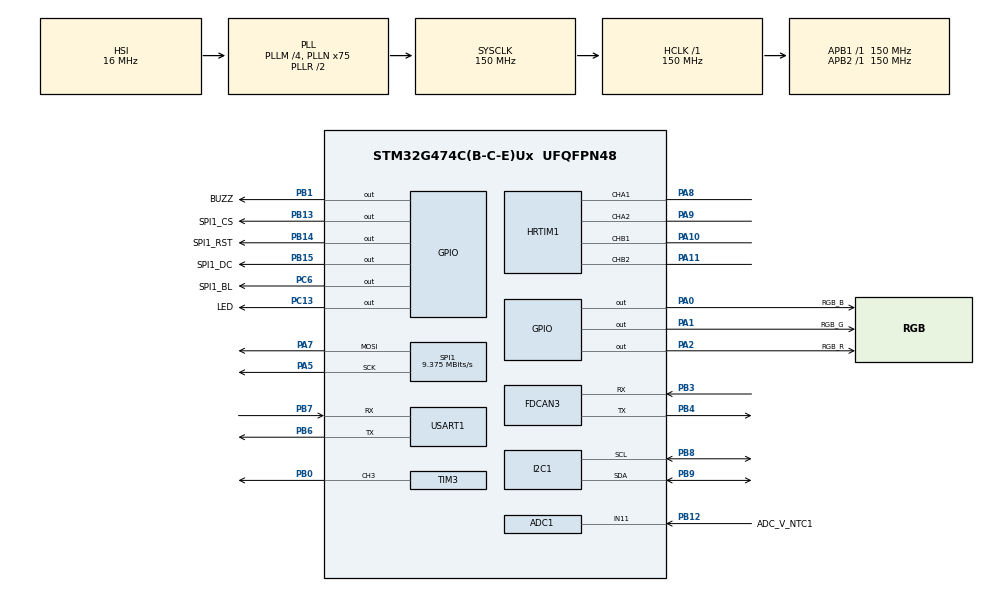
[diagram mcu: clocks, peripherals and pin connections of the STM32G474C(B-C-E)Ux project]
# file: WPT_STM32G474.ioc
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ADC1.Channel-0\#ChannelRegularConversion=ADC_CHANNEL_11
ADC1.NbrOfConversionFlag=1
ADC1.OffsetNumber-0\#ChannelRegularConversion=ADC_OFFSET_NONE
ADC1.Rank-0\#ChannelRegularConversion=1
ADC1.SamplingTime-0\#ChannelRegularConversion=ADC_SAMPLETIME_2CYCLES_5
ADC1.master=1
FDCAN3.CalculateBaudRateNominal=1874999
FDCAN3.CalculateTimeBitNominal=533
FDCAN3.CalculateTimeQuantumNominal=106.66666666666667
HRTIM1.CompareUnit1-MasterTimer=HRTIM_COMPAREUNIT_1
HRTIM1.CompareUnit1-Output_TA1TA2=HRTIM_COMPAREUNIT_1
HRTIM1.CompareUnit1-Output_TB1TB2=HRTIM_COMPAREUNIT_1
HRTIM1.CompareUnit2-MasterTimer=HRTIM_COMPAREUNIT_2
HRTIM1.CompareValue1-MasterTimer=200
HRTIM1.CompareValue1-Output_TA1TA2=850
HRTIM1.CompareValue1-Output_TB1TB2=850
HRTIM1.CompareValue2-MasterTimer=200
HRTIM1.DeadTimeInsertion-Output_TA1TA2=HRTIM_TIMDEADTIMEINSERTION_ENABLED
HRTIM1.DeadTimeInsertion-Output_TB1TB2=HRTIM_TIMDEADTIMEINSERTION_ENABLED
HRTIM1.FallingValue-Output_TA1TA2=100
HRTIM1.FallingValue-Output_TB1TB2=100
HRTIM1.InterleavedMode-Output_TB1TB2=HRTIM_INTERLEAVED_MODE_DISABLED
HRTIM1.NumberResetSource1-Output_TA1TA2=1
HRTIM1.NumberResetSource1-Output_TB1TB2=1
HRTIM1.NumberSetSource1-Output_TA1TA2=1
HRTIM1.NumberSetSource1-Output_TB1TB2=1
HRTIM1.Periode_MASTER=1500
HRTIM1.Periode_TA=1500
HRTIM1.Periode_TB=1500
HRTIM1.Polarity1-Output_TB1TB2=HRTIM_OUTPUTPOLARITY_HIGH
HRTIM1.Polarity2-Output_TA1TA2=HRTIM_OUTPUTPOLARITY_HIGH
HRTIM1.Polarity2-Output_TB1TB2=HRTIM_OUTPUTPOLARITY_HIGH
HRTIM1.PreloadEnable-MasterTimer=HRTIM_PRELOAD_ENABLED
HRTIM1.PreloadEnable-Output_TA1TA2=HRTIM_PRELOAD_ENABLED
HRTIM1.PreloadEnable-Output_TB1TB2=HRTIM_PRELOAD_ENABLED
HRTIM1.PrescalerDead-Output_TA1TA2=HRTIM_TIMDEADTIME_PRESCALERRATIO_DIV1
HRTIM1.PrescalerDead-Output_TB1TB2=HRTIM_TIMDEADTIME_PRESCALERRATIO_DIV1
HRTIM1.PrescalerRatio_MASTER=HRTIM_PRESCALERRATIO_DIV1
HRTIM1.PrescalerRatio_TA=HRTIM_PRESCALERRATIO_DIV1
HRTIM1.PrescalerRatio_TB=HRTIM_PRESCALERRATIO_DIV1
HRTIM1.RepetitionUpdate-MasterTimer=HRTIM_UPDATEONREPETITION_ENABLED
HRTIM1.RepetitionUpdate-Output_TA1TA2=HRTIM_UPDATEONREPETITION_ENABLED
HRTIM1.RepetitionUpdate-Output_TB1TB2=HRTIM_UPDATEONREPETITION_ENABLED
HRTIM1.ResetOutput1_Source1-Output_TA1TA2=HRTIM_OUTPUTRESET_TIMCMP1
HRTIM1.ResetOutput1_Source1-Output_TB1TB2=HRTIM_OUTPUTRESET_MASTERCMP2
HRTIM1.RisingValue-Output_TA1TA2=100
HRTIM1.RisingValue-Output_TB1TB2=100
HRTIM1.SetOutput1_Source1-Output_TA1TA2=HRTIM_OUTPUTSET_MASTERCMP1
HRTIM1.SetOutput1_Source1-Output_TB1TB2=HRTIM_OUTPUTSET_TIMCMP1
HRTIM1.SyncOptions=HRTIM_SYNCOPTION_MASTER
I2C1.Timing=0x30D293D6
Mcu.Family=STM32G4
Mcu.Name=STM32G474C(B-C-E)Ux
Mcu.Package=UFQFPN48
NVIC.PriorityGroup=NVIC_PRIORITYGROUP_4
PA0.GPIO_Label=RGB_B
PA0.Signal=GPIO_Output
PA1.GPIO_Label=RGB_G
PA1.Signal=GPIO_Output
PA10.Mode=Output_TB1TB2
PA10.Signal=HRTIM1_CHB1
PA11.Mode=Output_TB1TB2
PA11.Signal=HRTIM1_CHB2
PA13.Mode=Serial_Wire
PA13.Signal=SYS_JTMS-SWDIO
PA14.Mode=Serial_Wire
PA14.Signal=SYS_JTCK-SWCLK
PA2.GPIO_Label=RGB_R
PA2.Signal=GPIO_Output
PA5.Mode=TX_Only_Simplex_Unidirect_Master
PA5.Signal=SPI1_SCK
PA7.Mode=TX_Only_Simplex_Unidirect_Master
PA7.Signal=SPI1_MOSI
PA8.Mode=Output_TA1TA2
PA8.Signal=HRTIM1_CHA1
PA9.Mode=Output_TA1TA2
PA9.Signal=HRTIM1_CHA2
PB0.Signal=S_TIM3_CH3
PB1.GPIO_Label=BUZZ
PB1.Signal=GPIO_Output
PB12.GPIO_Label=ADC_V_NTC1
PB12.Mode=IN11-Single-Ended
PB12.Signal=ADC1_IN11
PB13.GPIO_Label=SPI1_CS
PB13.Signal=GPIO_Output
PB14.GPIO_Label=SPI1_RST
PB14.Signal=GPIO_Output
PB15.GPIO_Label=SPI1_DC
PB15.Signal=GPIO_Output
PB3.Mode=FDCAN_Activate
PB3.Signal=FDCAN3_RX
PB4.Mode=FDCAN_Activate
PB4.Signal=FDCAN3_TX
PB6.Mode=Asynchronous
PB6.Signal=USART1_TX
PB7.Mode=Asynchronous
PB7.Signal=USART1_RX
PB8-BOOT0.Mode=I2C
PB8-BOOT0.Signal=I2C1_SCL
PB9.Mode=I2C
PB9.Signal=I2C1_SDA
PC13.GPIO_Label=LED
PC13.Signal=GPIO_Output
PC6.GPIO_Label=SPI1_BL
PC6.Signal=GPIO_Output
ProjectManager.HeapSize=0x200
ProjectManager.StackSize=0x400
ProjectManager.TargetToolchain=MDK-ARM V5.32
RCC.ADC12Freq_Value=150000000
RCC.ADC345Freq_Value=150000000
RCC.AHBFreq_Value=150000000
RCC.APB1Freq_Value=150000000
RCC.APB1TimFreq_Value=150000000
RCC.APB2Freq_Value=150000000
RCC.APB2TimFreq_Value=150000000
RCC.CortexFreq_Value=150000000
RCC.EXTERNAL_CLOCK_VALUE=12288000
RCC.HCLKFreq_Value=150000000
RCC.HSE_VALUE=25000000
RCC.HSI48_VALUE=48000000
RCC.HSI_VALUE=16000000
RCC.LSE_VALUE=32768
RCC.PLLM=RCC_PLLM_DIV4
RCC.PLLN=75
RCC.SYSCLKFreq_VALUE=150000000
RCC.SYSCLKSource=RCC_SYSCLKSOURCE_PLLCLK
RCC.USBFreq_Value=150000000
RCC.VCOOutputFreq_Value=300000000
SH.S_TIM3_CH3.0=TIM3_CH3,PWM Generation3 CH3
SPI1.BaudRatePrescaler=SPI_BAUDRATEPRESCALER_16
SPI1.CalculateBaudRate=9.375 MBits/s
SPI1.DataSize=SPI_DATASIZE_8BIT
SPI1.Direction=SPI_DIRECTION_2LINES
SPI1.Mode=SPI_MODE_MASTER
SPI1.VirtualType=VM_MASTER
TIM3.Channel-PWM\ Generation3\ CH3=TIM_CHANNEL_3
USART1.VirtualMode-Asynchronous=VM_ASYNC
VP_HRTIM1_VS_hrtimMasterTimerNoOutput.Mode=MasterTimer
VP_SYS_VS_DBSignals.Mode=DisableDeadBatterySignals
board=custom

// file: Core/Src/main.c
/* USER CODE BEGIN Header */
/**
  ******************************************************************************
  * @file           : main.c
  * @brief          : Main program body
  ******************************************************************************
  * @attention
  *
  * Copyright (c) 2025 STMicroelectronics.
  * All rights reserved.
  *
  * This software is licensed under terms that can be found in the LICENSE file
  * in the root directory of this software component.
  * If no LICENSE file comes with this software, it is provided AS-IS.
  *
  ******************************************************************************
  */
/* USER CODE END Header */
#include "main.h"
#include "adc.h"
#include "fdcan.h"
#include "hrtim.h"
#include "i2c.h"
#include "spi.h"
#include "tim.h"
#include "usart.h"
#include "gpio.h"

/* USER CODE BEGIN Includes */
#include "st7735.h"
#include "fonts.h"
#include "stdio.h"
#include "ina226.h"
/* USER CODE END Includes */

void SystemClock_Config(void);

/* USER CODE BEGIN 0 */
//void start_module_A(void)
//{

//}
/* USER CODE END 0 */

int main(void)
{

  /* USER CODE BEGIN 1 */
//start_module_A();
  /* USER CODE END 1 */

  /* MCU Configuration--------------------------------------------------------*/

  /* Reset of all peripherals, Initializes the Flash interface and the Systick. */
  HAL_Init();

  /* Configure the system clock */
  SystemClock_Config();

  /* Initialize all configured peripherals */
  MX_GPIO_Init();
  MX_I2C1_Init();
  MX_ADC1_Init();
  MX_FDCAN3_Init();
  MX_HRTIM1_Init();
  MX_USART1_UART_Init();
  MX_TIM3_Init();
  MX_SPI1_Init();
  /* USER CODE BEGIN 2 */
//		HAL_HRTIM_WaveformCounterStart(&hhrtim1, HRTIM_TIMERID_MASTER | HRTIM_TIMERID_TIMER_A | HRTIM_TIMERID_TIMER_B);	//务必用|链接，实现同步
//
//
//	 HAL_HRTIM_WaveformOutputStart(&hhrtim1, HRTIM_OUTPUT_TA1 );
//	 HAL_HRTIM_WaveformOutputStart(&hhrtim1, HRTIM_OUTPUT_TA2 );
//
//
//	 HAL_HRTIM_WaveformOutputStart(&hhrtim1, HRTIM_OUTPUT_TB1 );
//	 HAL_HRTIM_WaveformOutputStart(&hhrtim1, HRTIM_OUTPUT_TB2 );
	HAL_Delay (100);
	ST7735_Init();
	HAL_GPIO_WritePin (SPI1_BL_GPIO_Port ,SPI1_BL_Pin ,GPIO_PIN_SET );
	ST7735_FillScreen(ST7735_BLACK);

  /* USER CODE END 2 */

  /* Infinite loop */
  while (1)
  {

    /* USER CODE BEGIN 3 */

		float    Current;
		float   Voltage;
		float  Pow;

	//INA226 初始化及CAL值适配
	/*
	* 设置转换时间8.244ms,求平均值次数16，设置模式为分流和总线连续模式
	* 总数据转换时间 = 8.244*16 = 131.9ms
	*/
    INA226_SetConfig(0x45FF);
	/*
	* 分流电阻最大电压 :电阻0.01R，分辨率0.2mA
	* 公式1
	* Current_LSB = 预= 32768 * 0.0000025V = 0.08192V
	* 设置分流电压转电流转换参数期最大电流 / 2^15
	* Current_LSB = 5 / 32768 = 0.00152A ,选0.002ma
	* 公式2
	* CAL = 0.00512/(Current_LSB*R)
	* CAL = 0.00512/(0.0002*0.1)=256 = 0x0100			100m对应0xa00  1对应0xa00
	*/
    INA226_SetCalibrationReg(0x07D0);

	//数据获取及转换
	Voltage = INA226_GetBusV();
	Current = INA226_GetCurrent();
	Pow = INA226_GetPower();
	char str_voltage[10]; // 分配足够的空间存储字符串
  sprintf(str_voltage, "%.6f", Voltage ); // 将浮点数格式化为整数形式
	char str_current[10]; // 分配足够的空间存储字符串       `
  sprintf(str_current, "%.6f", Current ); // 将浮点数格式化为整数形式
	char str_pow[10]; // 分配足够的空间存储字符串
  sprintf(str_pow, "%.6f", Pow ); // 将浮点数格式化为整数形式
////	//串口打印
////	printf("Current is %fA ",Current);
////	printf("Voltage is %fV ",Voltage);
////	printf("Pow is %fW\n",Pow);
//	//屏幕显示
	ST7735_DrawString(0, 0, "[WPT-TX]", ST7735_YELLOW, ST7735_BLACK, &Font_11x18);
	ST7735_DrawString(100, 0, "CAN:NOT", ST7735_RED, ST7735_BLACK, &Font_7x10);
	ST7735_DrawString(100, 10, "UART:NOT", ST7735_RED, ST7735_BLACK, &Font_7x10);
	ST7735_DrawString(0, 20, str_voltage, ST7735_GREEN, ST7735_BLACK, &Font_11x18);
	ST7735_DrawString(0, 40, str_current, ST7735_BLUE, ST7735_BLACK, &Font_11x18);
	ST7735_DrawString(0, 60, str_pow, ST7735_YELLOW, ST7735_BLACK, &Font_11x18);
	ST7735_DrawString(100, 20, "POWER:", ST7735_PUPER, ST7735_BLACK, &Font_7x10);
	ST7735_DrawString(100, 30, "2000J", ST7735_WHITE, ST7735_BLACK, &Font_7x10);
	ST7735_DrawString(100, 40, "TIME", ST7735_CYAN, ST7735_BLACK, &Font_7x10);
	ST7735_DrawString(100, 50, "0:00:00", ST7735_WHITE, ST7735_BLACK, &Font_7x10);
	ST7735_DrawString(100, 60, "29DU", ST7735_BLUE, ST7735_BLACK, &Font_7x10);
	ST7735_DrawString(100, 70, "------", ST7735_YELLOW, ST7735_BLACK, &Font_7x10);

	//指示灯显示
	HAL_GPIO_WritePin (LED_GPIO_Port ,LED_Pin ,GPIO_PIN_RESET);
	HAL_Delay (100);
	HAL_GPIO_WritePin (LED_GPIO_Port ,LED_Pin ,GPIO_PIN_SET);
	HAL_Delay (100);

	HAL_GPIO_WritePin (RGB_G_GPIO_Port ,RGB_G_Pin ,GPIO_PIN_RESET);
	HAL_Delay (100);
	HAL_GPIO_WritePin (RGB_G_GPIO_Port ,RGB_G_Pin ,GPIO_PIN_SET);
	HAL_Delay (100);
	HAL_GPIO_WritePin (RGB_B_GPIO_Port ,RGB_B_Pin ,GPIO_PIN_RESET);
	HAL_Delay (100);
	HAL_GPIO_WritePin (RGB_B_GPIO_Port ,RGB_B_Pin ,GPIO_PIN_SET);
	HAL_Delay (100);
	HAL_GPIO_WritePin (RGB_R_GPIO_Port ,RGB_R_Pin ,GPIO_PIN_RESET);
	HAL_Delay (100);
	HAL_GPIO_WritePin (RGB_R_GPIO_Port ,RGB_R_Pin ,GPIO_PIN_SET);
	HAL_Delay (100);

  }
  /* USER CODE END 3 */
}

void SystemClock_Config(void)
{
  RCC_OscInitTypeDef RCC_OscInitStruct = {0};
  RCC_ClkInitTypeDef RCC_ClkInitStruct = {0};

  /** Configure the main internal regulator output voltage
  */
  HAL_PWREx_ControlVoltageScaling(PWR_REGULATOR_VOLTAGE_SCALE1);

  /** Initializes the RCC Oscillators according to the specified parameters
  * in the RCC_OscInitTypeDef structure.
  */
  RCC_OscInitStruct.OscillatorType = RCC_OSCILLATORTYPE_HSI;
  RCC_OscInitStruct.HSIState = RCC_HSI_ON;
  RCC_OscInitStruct.HSICalibrationValue = RCC_HSICALIBRATION_DEFAULT;
  RCC_OscInitStruct.PLL.PLLState = RCC_PLL_ON;
  RCC_OscInitStruct.PLL.PLLSource = RCC_PLLSOURCE_HSI;
  RCC_OscInitStruct.PLL.PLLM = RCC_PLLM_DIV4;
  RCC_OscInitStruct.PLL.PLLN = 75;
  RCC_OscInitStruct.PLL.PLLP = RCC_PLLP_DIV2;
  RCC_OscInitStruct.PLL.PLLQ = RCC_PLLQ_DIV2;
  RCC_OscInitStruct.PLL.PLLR = RCC_PLLR_DIV2;
  if (HAL_RCC_OscConfig(&RCC_OscInitStruct) != HAL_OK)
  {
    Error_Handler();
  }

  /** Initializes the CPU, AHB and APB buses clocks
  */
  RCC_ClkInitStruct.ClockType = RCC_CLOCKTYPE_HCLK|RCC_CLOCKTYPE_SYSCLK
                              |RCC_CLOCKTYPE_PCLK1|RCC_CLOCKTYPE_PCLK2;
  RCC_ClkInitStruct.SYSCLKSource = RCC_SYSCLKSOURCE_PLLCLK;
  RCC_ClkInitStruct.AHBCLKDivider = RCC_SYSCLK_DIV1;
  RCC_ClkInitStruct.APB1CLKDivider = RCC_HCLK_DIV1;
  RCC_ClkInitStruct.APB2CLKDivider = RCC_HCLK_DIV1;

  if (HAL_RCC_ClockConfig(&RCC_ClkInitStruct, FLASH_LATENCY_4) != HAL_OK)
  {
    Error_Handler();
  }
}

void Error_Handler(void)
{
  __disable_irq();
  while (1)
  {
  }
}
